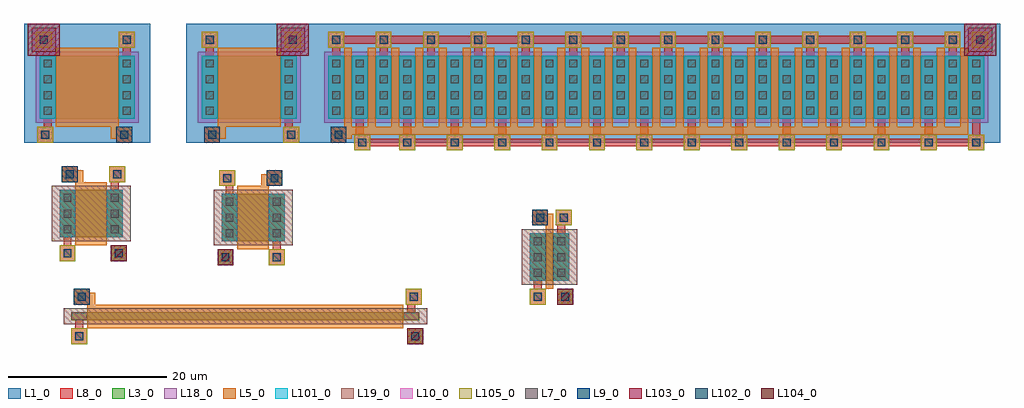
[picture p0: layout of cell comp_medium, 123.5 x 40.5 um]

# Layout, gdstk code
from math import pi, radians
import gdstk
lib = gdstk.Library(unit=1e-6, precision=1e-09)
def R(c, l, rs):  # rectangles x0, y0, x1, y1
    for r in rs: c.add(gdstk.rectangle(r[:2], r[2:], *l))
L1_0 = (1, 0)
L3_0 = (3, 0)
L5_0 = (5, 0)
L7_0 = (7, 0)
L8_0 = (8, 0)
L9_0 = (9, 0)
L10_0 = (10, 0)
L18_0 = (18, 0)
L19_0 = (19, 0)
L101_0 = (101, 0)
L102_0 = (102, 0)
L103_0 = (103, 0)
L104_0 = (104, 0)
L105_0 = (105, 0)

dcont = lib.new_cell('dcont')
R(dcont, L3_0, [(-0.5,-0.5,0.5,0.5)])
R(dcont, L7_0, [(-0.5,-0.5,0.5,0.5)])
R(dcont, L8_0, [(-1,-1,1,1)])
R(dcont, L101_0, [(-1,-1,1,1)])
dcont.add(gdstk.Label('dcont', (0,0), layer=13, texttype=0))

via = lib.new_cell('Via')
R(via, L8_0, [(-1,-1,1,1)])
R(via, L9_0, [(-0.5,-0.5,0.5,0.5)])
R(via, L10_0, [(-1,-1,1,1)])
R(via, L105_0, [(-1,-1,1,1)])
via.add(gdstk.Label('via', (0,0), layer=13, texttype=0))

nsubcont = lib.new_cell('nsubcont')
R(nsubcont, L1_0, [(-2,-2,2,2)])
R(nsubcont, L19_0, [(-1.5,-1.5,1.5,1.5)])
R(nsubcont, L103_0, [(-2,-2,2,2)])
nsubcont.add(gdstk.Reference(dcont, (0,0)))
nsubcont.add(gdstk.Label('NScont', (0,0), layer=13, texttype=0))

pcont = lib.new_cell('pcont')
R(pcont, L5_0, [(-1,-1,1,1)])
R(pcont, L7_0, [(-0.5,-0.5,0.5,0.5)])
R(pcont, L8_0, [(-1,-1,1,1)])
R(pcont, L102_0, [(-1,-1,1,1)])
pcont.add(gdstk.Label('pcont', (0,0), layer=13, texttype=0))

pch_2 = lib.new_cell('Pch$2')
R(pch_2, L1_0, [(-2,0,85,15)])
R(pch_2, L3_0, [(0,3,83,11)])
R(pch_2, L18_0, [(-0.5,2.5,83.5,11.5)])
pch_2.add(gdstk.FlexPath([(1,3),(1,11)], 2, ends="flush", simple_path=True, layer=8, datatype=0))  # L8_0
pch_2.add(gdstk.FlexPath([(4,3),(4,11)], 2, ends="flush", simple_path=True, layer=8, datatype=0))  # L8_0
pch_2.add(gdstk.FlexPath([(7,3),(7,11)], 2, ends="flush", simple_path=True, layer=8, datatype=0))  # L8_0
pch_2.add(gdstk.FlexPath([(10,3),(10,11)], 2, ends="flush", simple_path=True, layer=8, datatype=0))  # L8_0
pch_2.add(gdstk.FlexPath([(13,3),(13,11)], 2, ends="flush", simple_path=True, layer=8, datatype=0))  # L8_0
pch_2.add(gdstk.FlexPath([(16,3),(16,11)], 2, ends="flush", simple_path=True, layer=8, datatype=0))  # L8_0
pch_2.add(gdstk.FlexPath([(19,3),(19,11)], 2, ends="flush", simple_path=True, layer=8, datatype=0))  # L8_0
pch_2.add(gdstk.FlexPath([(22,3),(22,11)], 2, ends="flush", simple_path=True, layer=8, datatype=0))  # L8_0
pch_2.add(gdstk.FlexPath([(25,3),(25,11)], 2, ends="flush", simple_path=True, layer=8, datatype=0))  # L8_0
pch_2.add(gdstk.FlexPath([(28,3),(28,11)], 2, ends="flush", simple_path=True, layer=8, datatype=0))  # L8_0
pch_2.add(gdstk.FlexPath([(31,3),(31,11)], 2, ends="flush", simple_path=True, layer=8, datatype=0))  # L8_0
pch_2.add(gdstk.FlexPath([(34,3),(34,11)], 2, ends="flush", simple_path=True, layer=8, datatype=0))  # L8_0
pch_2.add(gdstk.FlexPath([(37,3),(37,11)], 2, ends="flush", simple_path=True, layer=8, datatype=0))  # L8_0
pch_2.add(gdstk.FlexPath([(40,3),(40,11)], 2, ends="flush", simple_path=True, layer=8, datatype=0))  # L8_0
pch_2.add(gdstk.FlexPath([(43,3),(43,11)], 2, ends="flush", simple_path=True, layer=8, datatype=0))  # L8_0
pch_2.add(gdstk.FlexPath([(46,3),(46,11)], 2, ends="flush", simple_path=True, layer=8, datatype=0))  # L8_0
pch_2.add(gdstk.FlexPath([(49,3),(49,11)], 2, ends="flush", simple_path=True, layer=8, datatype=0))  # L8_0
pch_2.add(gdstk.FlexPath([(52,3),(52,11)], 2, ends="flush", simple_path=True, layer=8, datatype=0))  # L8_0
pch_2.add(gdstk.FlexPath([(55,3),(55,11)], 2, ends="flush", simple_path=True, layer=8, datatype=0))  # L8_0
pch_2.add(gdstk.FlexPath([(58,3),(58,11)], 2, ends="flush", simple_path=True, layer=8, datatype=0))  # L8_0
pch_2.add(gdstk.FlexPath([(61,3),(61,11)], 2, ends="flush", simple_path=True, layer=8, datatype=0))  # L8_0
pch_2.add(gdstk.FlexPath([(64,3),(64,11)], 2, ends="flush", simple_path=True, layer=8, datatype=0))  # L8_0
pch_2.add(gdstk.FlexPath([(67,3),(67,11)], 2, ends="flush", simple_path=True, layer=8, datatype=0))  # L8_0
pch_2.add(gdstk.FlexPath([(70,3),(70,11)], 2, ends="flush", simple_path=True, layer=8, datatype=0))  # L8_0
pch_2.add(gdstk.FlexPath([(73,3),(73,11)], 2, ends="flush", simple_path=True, layer=8, datatype=0))  # L8_0
pch_2.add(gdstk.FlexPath([(76,3),(76,11)], 2, ends="flush", simple_path=True, layer=8, datatype=0))  # L8_0
pch_2.add(gdstk.FlexPath([(79,3),(79,11)], 2, ends="flush", simple_path=True, layer=8, datatype=0))  # L8_0
pch_2.add(gdstk.FlexPath([(82,3),(82,11)], 2, ends="flush", simple_path=True, layer=8, datatype=0))  # L8_0
pch_2.add(gdstk.FlexPath([(1,11),(1,13)], 1, ends="flush", simple_path=True, layer=8, datatype=0))  # L8_0
pch_2.add(gdstk.FlexPath([(4,0),(4,3)], 1, ends="flush", simple_path=True, layer=8, datatype=0))  # L8_0
pch_2.add(gdstk.FlexPath([(7,11),(7,13)], 1, ends="flush", simple_path=True, layer=8, datatype=0))  # L8_0
pch_2.add(gdstk.FlexPath([(1,13),(7,13)], 1, ends="flush", simple_path=True, layer=8, datatype=0))  # L8_0
pch_2.add(gdstk.FlexPath([(10,0),(10,3)], 1, ends="flush", simple_path=True, layer=8, datatype=0))  # L8_0
pch_2.add(gdstk.FlexPath([(4,0),(10,0)], 1, ends="flush", simple_path=True, layer=8, datatype=0))  # L8_0
pch_2.add(gdstk.FlexPath([(13,11),(13,13)], 1, ends="flush", simple_path=True, layer=8, datatype=0))  # L8_0
pch_2.add(gdstk.FlexPath([(7,13),(13,13)], 1, ends="flush", simple_path=True, layer=8, datatype=0))  # L8_0
pch_2.add(gdstk.FlexPath([(16,0),(16,3)], 1, ends="flush", simple_path=True, layer=8, datatype=0))  # L8_0
pch_2.add(gdstk.FlexPath([(10,0),(16,0)], 1, ends="flush", simple_path=True, layer=8, datatype=0))  # L8_0
pch_2.add(gdstk.FlexPath([(19,11),(19,13)], 1, ends="flush", simple_path=True, layer=8, datatype=0))  # L8_0
pch_2.add(gdstk.FlexPath([(13,13),(19,13)], 1, ends="flush", simple_path=True, layer=8, datatype=0))  # L8_0
pch_2.add(gdstk.FlexPath([(22,0),(22,3)], 1, ends="flush", simple_path=True, layer=8, datatype=0))  # L8_0
pch_2.add(gdstk.FlexPath([(16,0),(22,0)], 1, ends="flush", simple_path=True, layer=8, datatype=0))  # L8_0
pch_2.add(gdstk.FlexPath([(25,11),(25,13)], 1, ends="flush", simple_path=True, layer=8, datatype=0))  # L8_0
pch_2.add(gdstk.FlexPath([(19,13),(25,13)], 1, ends="flush", simple_path=True, layer=8, datatype=0))  # L8_0
pch_2.add(gdstk.FlexPath([(28,0),(28,3)], 1, ends="flush", simple_path=True, layer=8, datatype=0))  # L8_0
pch_2.add(gdstk.FlexPath([(22,0),(28,0)], 1, ends="flush", simple_path=True, layer=8, datatype=0))  # L8_0
pch_2.add(gdstk.FlexPath([(31,11),(31,13)], 1, ends="flush", simple_path=True, layer=8, datatype=0))  # L8_0
pch_2.add(gdstk.FlexPath([(25,13),(31,13)], 1, ends="flush", simple_path=True, layer=8, datatype=0))  # L8_0
pch_2.add(gdstk.FlexPath([(34,0),(34,3)], 1, ends="flush", simple_path=True, layer=8, datatype=0))  # L8_0
pch_2.add(gdstk.FlexPath([(28,0),(34,0)], 1, ends="flush", simple_path=True, layer=8, datatype=0))  # L8_0
pch_2.add(gdstk.FlexPath([(37,11),(37,13)], 1, ends="flush", simple_path=True, layer=8, datatype=0))  # L8_0
pch_2.add(gdstk.FlexPath([(31,13),(37,13)], 1, ends="flush", simple_path=True, layer=8, datatype=0))  # L8_0
pch_2.add(gdstk.FlexPath([(40,0),(40,3)], 1, ends="flush", simple_path=True, layer=8, datatype=0))  # L8_0
pch_2.add(gdstk.FlexPath([(34,0),(40,0)], 1, ends="flush", simple_path=True, layer=8, datatype=0))  # L8_0
pch_2.add(gdstk.FlexPath([(43,11),(43,13)], 1, ends="flush", simple_path=True, layer=8, datatype=0))  # L8_0
pch_2.add(gdstk.FlexPath([(37,13),(43,13)], 1, ends="flush", simple_path=True, layer=8, datatype=0))  # L8_0
pch_2.add(gdstk.FlexPath([(46,0),(46,3)], 1, ends="flush", simple_path=True, layer=8, datatype=0))  # L8_0
pch_2.add(gdstk.FlexPath([(40,0),(46,0)], 1, ends="flush", simple_path=True, layer=8, datatype=0))  # L8_0
pch_2.add(gdstk.FlexPath([(49,11),(49,13)], 1, ends="flush", simple_path=True, layer=8, datatype=0))  # L8_0
pch_2.add(gdstk.FlexPath([(43,13),(49,13)], 1, ends="flush", simple_path=True, layer=8, datatype=0))  # L8_0
pch_2.add(gdstk.FlexPath([(52,0),(52,3)], 1, ends="flush", simple_path=True, layer=8, datatype=0))  # L8_0
pch_2.add(gdstk.FlexPath([(46,0),(52,0)], 1, ends="flush", simple_path=True, layer=8, datatype=0))  # L8_0
pch_2.add(gdstk.FlexPath([(55,11),(55,13)], 1, ends="flush", simple_path=True, layer=8, datatype=0))  # L8_0
pch_2.add(gdstk.FlexPath([(49,13),(55,13)], 1, ends="flush", simple_path=True, layer=8, datatype=0))  # L8_0
pch_2.add(gdstk.FlexPath([(58,0),(58,3)], 1, ends="flush", simple_path=True, layer=8, datatype=0))  # L8_0
pch_2.add(gdstk.FlexPath([(52,0),(58,0)], 1, ends="flush", simple_path=True, layer=8, datatype=0))  # L8_0
pch_2.add(gdstk.FlexPath([(61,11),(61,13)], 1, ends="flush", simple_path=True, layer=8, datatype=0))  # L8_0
pch_2.add(gdstk.FlexPath([(55,13),(61,13)], 1, ends="flush", simple_path=True, layer=8, datatype=0))  # L8_0
pch_2.add(gdstk.FlexPath([(64,0),(64,3)], 1, ends="flush", simple_path=True, layer=8, datatype=0))  # L8_0
pch_2.add(gdstk.FlexPath([(58,0),(64,0)], 1, ends="flush", simple_path=True, layer=8, datatype=0))  # L8_0
pch_2.add(gdstk.FlexPath([(67,11),(67,13)], 1, ends="flush", simple_path=True, layer=8, datatype=0))  # L8_0
pch_2.add(gdstk.FlexPath([(61,13),(67,13)], 1, ends="flush", simple_path=True, layer=8, datatype=0))  # L8_0
pch_2.add(gdstk.FlexPath([(70,0),(70,3)], 1, ends="flush", simple_path=True, layer=8, datatype=0))  # L8_0
pch_2.add(gdstk.FlexPath([(64,0),(70,0)], 1, ends="flush", simple_path=True, layer=8, datatype=0))  # L8_0
pch_2.add(gdstk.FlexPath([(73,11),(73,13)], 1, ends="flush", simple_path=True, layer=8, datatype=0))  # L8_0
pch_2.add(gdstk.FlexPath([(67,13),(73,13)], 1, ends="flush", simple_path=True, layer=8, datatype=0))  # L8_0
pch_2.add(gdstk.FlexPath([(76,0),(76,3)], 1, ends="flush", simple_path=True, layer=8, datatype=0))  # L8_0
pch_2.add(gdstk.FlexPath([(70,0),(76,0)], 1, ends="flush", simple_path=True, layer=8, datatype=0))  # L8_0
pch_2.add(gdstk.FlexPath([(79,11),(79,13)], 1, ends="flush", simple_path=True, layer=8, datatype=0))  # L8_0
pch_2.add(gdstk.FlexPath([(73,13),(79,13)], 1, ends="flush", simple_path=True, layer=8, datatype=0))  # L8_0
pch_2.add(gdstk.FlexPath([(82,0),(82,3)], 1, ends="flush", simple_path=True, layer=8, datatype=0))  # L8_0
pch_2.add(gdstk.FlexPath([(76,0),(82,0)], 1, ends="flush", simple_path=True, layer=8, datatype=0))  # L8_0
pch_2.add(gdstk.FlexPath([(2.5,3),(2.5,11)], 1, ends=(1, 1), simple_path=True, layer=5, datatype=0))  # L5_0
pch_2.add(gdstk.FlexPath([(5.5,3),(5.5,11)], 1, ends=(1, 1), simple_path=True, layer=5, datatype=0))  # L5_0
pch_2.add(gdstk.FlexPath([(8.5,3),(8.5,11)], 1, ends=(1, 1), simple_path=True, layer=5, datatype=0))  # L5_0
pch_2.add(gdstk.FlexPath([(11.5,3),(11.5,11)], 1, ends=(1, 1), simple_path=True, layer=5, datatype=0))  # L5_0
pch_2.add(gdstk.FlexPath([(14.5,3),(14.5,11)], 1, ends=(1, 1), simple_path=True, layer=5, datatype=0))  # L5_0
pch_2.add(gdstk.FlexPath([(17.5,3),(17.5,11)], 1, ends=(1, 1), simple_path=True, layer=5, datatype=0))  # L5_0
pch_2.add(gdstk.FlexPath([(20.5,3),(20.5,11)], 1, ends=(1, 1), simple_path=True, layer=5, datatype=0))  # L5_0
pch_2.add(gdstk.FlexPath([(23.5,3),(23.5,11)], 1, ends=(1, 1), simple_path=True, layer=5, datatype=0))  # L5_0
pch_2.add(gdstk.FlexPath([(26.5,3),(26.5,11)], 1, ends=(1, 1), simple_path=True, layer=5, datatype=0))  # L5_0
pch_2.add(gdstk.FlexPath([(29.5,3),(29.5,11)], 1, ends=(1, 1), simple_path=True, layer=5, datatype=0))  # L5_0
pch_2.add(gdstk.FlexPath([(32.5,3),(32.5,11)], 1, ends=(1, 1), simple_path=True, layer=5, datatype=0))  # L5_0
pch_2.add(gdstk.FlexPath([(35.5,3),(35.5,11)], 1, ends=(1, 1), simple_path=True, layer=5, datatype=0))  # L5_0
pch_2.add(gdstk.FlexPath([(38.5,3),(38.5,11)], 1, ends=(1, 1), simple_path=True, layer=5, datatype=0))  # L5_0
pch_2.add(gdstk.FlexPath([(41.5,3),(41.5,11)], 1, ends=(1, 1), simple_path=True, layer=5, datatype=0))  # L5_0
pch_2.add(gdstk.FlexPath([(44.5,3),(44.5,11)], 1, ends=(1, 1), simple_path=True, layer=5, datatype=0))  # L5_0
pch_2.add(gdstk.FlexPath([(47.5,3),(47.5,11)], 1, ends=(1, 1), simple_path=True, layer=5, datatype=0))  # L5_0
pch_2.add(gdstk.FlexPath([(50.5,3),(50.5,11)], 1, ends=(1, 1), simple_path=True, layer=5, datatype=0))  # L5_0
pch_2.add(gdstk.FlexPath([(53.5,3),(53.5,11)], 1, ends=(1, 1), simple_path=True, layer=5, datatype=0))  # L5_0
pch_2.add(gdstk.FlexPath([(56.5,3),(56.5,11)], 1, ends=(1, 1), simple_path=True, layer=5, datatype=0))  # L5_0
pch_2.add(gdstk.FlexPath([(59.5,3),(59.5,11)], 1, ends=(1, 1), simple_path=True, layer=5, datatype=0))  # L5_0
pch_2.add(gdstk.FlexPath([(62.5,3),(62.5,11)], 1, ends=(1, 1), simple_path=True, layer=5, datatype=0))  # L5_0
pch_2.add(gdstk.FlexPath([(65.5,3),(65.5,11)], 1, ends=(1, 1), simple_path=True, layer=5, datatype=0))  # L5_0
pch_2.add(gdstk.FlexPath([(68.5,3),(68.5,11)], 1, ends=(1, 1), simple_path=True, layer=5, datatype=0))  # L5_0
pch_2.add(gdstk.FlexPath([(71.5,3),(71.5,11)], 1, ends=(1, 1), simple_path=True, layer=5, datatype=0))  # L5_0
pch_2.add(gdstk.FlexPath([(74.5,3),(74.5,11)], 1, ends=(1, 1), simple_path=True, layer=5, datatype=0))  # L5_0
pch_2.add(gdstk.FlexPath([(77.5,3),(77.5,11)], 1, ends=(1, 1), simple_path=True, layer=5, datatype=0))  # L5_0
pch_2.add(gdstk.FlexPath([(80.5,3),(80.5,11)], 1, ends=(1, 1), simple_path=True, layer=5, datatype=0))  # L5_0
pch_2.add(gdstk.FlexPath([(1,1),(2.5,1),(2.5,2)], 1, ends="flush", simple_path=True, layer=5, datatype=0))  # L5_0
pch_2.add(gdstk.FlexPath([(2,1.5),(6,1.5)], 1, ends="flush", simple_path=True, layer=5, datatype=0))  # L5_0
pch_2.add(gdstk.FlexPath([(5,1.5),(9,1.5)], 1, ends="flush", simple_path=True, layer=5, datatype=0))  # L5_0
pch_2.add(gdstk.FlexPath([(8,1.5),(12,1.5)], 1, ends="flush", simple_path=True, layer=5, datatype=0))  # L5_0
pch_2.add(gdstk.FlexPath([(11,1.5),(15,1.5)], 1, ends="flush", simple_path=True, layer=5, datatype=0))  # L5_0
pch_2.add(gdstk.FlexPath([(14,1.5),(18,1.5)], 1, ends="flush", simple_path=True, layer=5, datatype=0))  # L5_0
pch_2.add(gdstk.FlexPath([(17,1.5),(21,1.5)], 1, ends="flush", simple_path=True, layer=5, datatype=0))  # L5_0
pch_2.add(gdstk.FlexPath([(20,1.5),(24,1.5)], 1, ends="flush", simple_path=True, layer=5, datatype=0))  # L5_0
pch_2.add(gdstk.FlexPath([(23,1.5),(27,1.5)], 1, ends="flush", simple_path=True, layer=5, datatype=0))  # L5_0
pch_2.add(gdstk.FlexPath([(26,1.5),(30,1.5)], 1, ends="flush", simple_path=True, layer=5, datatype=0))  # L5_0
pch_2.add(gdstk.FlexPath([(29,1.5),(33,1.5)], 1, ends="flush", simple_path=True, layer=5, datatype=0))  # L5_0
pch_2.add(gdstk.FlexPath([(32,1.5),(36,1.5)], 1, ends="flush", simple_path=True, layer=5, datatype=0))  # L5_0
pch_2.add(gdstk.FlexPath([(35,1.5),(39,1.5)], 1, ends="flush", simple_path=True, layer=5, datatype=0))  # L5_0
pch_2.add(gdstk.FlexPath([(38,1.5),(42,1.5)], 1, ends="flush", simple_path=True, layer=5, datatype=0))  # L5_0
pch_2.add(gdstk.FlexPath([(41,1.5),(45,1.5)], 1, ends="flush", simple_path=True, layer=5, datatype=0))  # L5_0
pch_2.add(gdstk.FlexPath([(44,1.5),(48,1.5)], 1, ends="flush", simple_path=True, layer=5, datatype=0))  # L5_0
pch_2.add(gdstk.FlexPath([(47,1.5),(51,1.5)], 1, ends="flush", simple_path=True, layer=5, datatype=0))  # L5_0
pch_2.add(gdstk.FlexPath([(50,1.5),(54,1.5)], 1, ends="flush", simple_path=True, layer=5, datatype=0))  # L5_0
pch_2.add(gdstk.FlexPath([(53,1.5),(57,1.5)], 1, ends="flush", simple_path=True, layer=5, datatype=0))  # L5_0
pch_2.add(gdstk.FlexPath([(56,1.5),(60,1.5)], 1, ends="flush", simple_path=True, layer=5, datatype=0))  # L5_0
pch_2.add(gdstk.FlexPath([(59,1.5),(63,1.5)], 1, ends="flush", simple_path=True, layer=5, datatype=0))  # L5_0
pch_2.add(gdstk.FlexPath([(62,1.5),(66,1.5)], 1, ends="flush", simple_path=True, layer=5, datatype=0))  # L5_0
pch_2.add(gdstk.FlexPath([(65,1.5),(69,1.5)], 1, ends="flush", simple_path=True, layer=5, datatype=0))  # L5_0
pch_2.add(gdstk.FlexPath([(68,1.5),(72,1.5)], 1, ends="flush", simple_path=True, layer=5, datatype=0))  # L5_0
pch_2.add(gdstk.FlexPath([(71,1.5),(75,1.5)], 1, ends="flush", simple_path=True, layer=5, datatype=0))  # L5_0
pch_2.add(gdstk.FlexPath([(74,1.5),(78,1.5)], 1, ends="flush", simple_path=True, layer=5, datatype=0))  # L5_0
pch_2.add(gdstk.FlexPath([(77,1.5),(81,1.5)], 1, ends="flush", simple_path=True, layer=5, datatype=0))  # L5_0
pch_2.add(gdstk.Reference(dcont, (43,4)))
pch_2.add(gdstk.Reference(dcont, (43,6)))
pch_2.add(gdstk.Reference(dcont, (43,8)))
pch_2.add(gdstk.Reference(dcont, (43,10)))
pch_2.add(gdstk.Reference(via, (43,13)))
pch_2.add(gdstk.Reference(dcont, (46,10)))
pch_2.add(gdstk.Reference(dcont, (49,8)))
pch_2.add(gdstk.Reference(dcont, (49,10)))
pch_2.add(gdstk.Reference(dcont, (52,8)))
pch_2.add(gdstk.Reference(dcont, (52,10)))
pch_2.add(gdstk.Reference(dcont, (55,8)))
pch_2.add(gdstk.Reference(dcont, (55,10)))
pch_2.add(gdstk.Reference(dcont, (58,8)))
pch_2.add(gdstk.Reference(dcont, (58,10)))
pch_2.add(gdstk.Reference(dcont, (61,8)))
pch_2.add(gdstk.Reference(dcont, (61,10)))
pch_2.add(gdstk.Reference(dcont, (64,8)))
pch_2.add(gdstk.Reference(dcont, (64,10)))
pch_2.add(gdstk.Reference(dcont, (67,8)))
pch_2.add(gdstk.Reference(dcont, (67,10)))
pch_2.add(gdstk.Reference(dcont, (70,8)))
pch_2.add(gdstk.Reference(dcont, (70,10)))
pch_2.add(gdstk.Reference(dcont, (73,8)))
pch_2.add(gdstk.Reference(dcont, (73,10)))
pch_2.add(gdstk.Reference(dcont, (76,8)))
pch_2.add(gdstk.Reference(dcont, (76,10)))
pch_2.add(gdstk.Reference(dcont, (79,8)))
pch_2.add(gdstk.Reference(dcont, (79,10)))
pch_2.add(gdstk.Reference(dcont, (82,8)))
pch_2.add(gdstk.Reference(dcont, (82,10)))
pch_2.add(gdstk.Reference(dcont, (46,8)))
pch_2.add(gdstk.Reference(via, (49,13)))
pch_2.add(gdstk.Reference(via, (55,13)))
pch_2.add(gdstk.Reference(via, (61,13)))
pch_2.add(gdstk.Reference(via, (67,13)))
pch_2.add(gdstk.Reference(via, (73,13)))
pch_2.add(gdstk.Reference(via, (79,13)))
pch_2.add(gdstk.Reference(nsubcont, (82.5,13)))
pch_2.add(gdstk.Reference(via, (82.5,13)))
pch_2.add(gdstk.Reference(dcont, (16,10)))
pch_2.add(gdstk.Reference(dcont, (19,8)))
pch_2.add(gdstk.Reference(dcont, (19,10)))
pch_2.add(gdstk.Reference(dcont, (22,8)))
pch_2.add(gdstk.Reference(dcont, (22,10)))
pch_2.add(gdstk.Reference(dcont, (25,8)))
pch_2.add(gdstk.Reference(dcont, (25,10)))
pch_2.add(gdstk.Reference(dcont, (28,8)))
pch_2.add(gdstk.Reference(dcont, (28,10)))
pch_2.add(gdstk.Reference(dcont, (31,8)))
pch_2.add(gdstk.Reference(dcont, (31,10)))
pch_2.add(gdstk.Reference(dcont, (34,8)))
pch_2.add(gdstk.Reference(dcont, (34,10)))
pch_2.add(gdstk.Reference(dcont, (37,8)))
pch_2.add(gdstk.Reference(dcont, (37,10)))
pch_2.add(gdstk.Reference(dcont, (40,8)))
pch_2.add(gdstk.Reference(dcont, (40,10)))
pch_2.add(gdstk.Reference(dcont, (1,8)))
pch_2.add(gdstk.Reference(dcont, (1,10)))
pch_2.add(gdstk.Reference(via, (1,13)))
pch_2.add(gdstk.Reference(via, (7,13)))
pch_2.add(gdstk.Reference(via, (13,13)))
pch_2.add(gdstk.Reference(via, (19,13)))
pch_2.add(gdstk.Reference(via, (25,13)))
pch_2.add(gdstk.Reference(via, (31,13)))
pch_2.add(gdstk.Reference(via, (37,13)))
pch_2.add(gdstk.Reference(dcont, (4,8)))
pch_2.add(gdstk.Reference(dcont, (4,10)))
pch_2.add(gdstk.Reference(dcont, (7,8)))
pch_2.add(gdstk.Reference(dcont, (7,10)))
pch_2.add(gdstk.Reference(dcont, (10,8)))
pch_2.add(gdstk.Reference(dcont, (10,10)))
pch_2.add(gdstk.Reference(dcont, (13,8)))
pch_2.add(gdstk.Reference(dcont, (13,10)))
pch_2.add(gdstk.Reference(dcont, (16,8)))
pch_2.add(gdstk.Reference(dcont, (4,4)))
pch_2.add(gdstk.Reference(dcont, (4,6)))
pch_2.add(gdstk.Reference(dcont, (37,4)))
pch_2.add(gdstk.Reference(dcont, (37,6)))
pch_2.add(gdstk.Reference(dcont, (19,4)))
pch_2.add(gdstk.Reference(dcont, (19,6)))
pch_2.add(gdstk.Reference(dcont, (40,4)))
pch_2.add(gdstk.Reference(dcont, (40,6)))
pch_2.add(gdstk.Reference(dcont, (10,4)))
pch_2.add(gdstk.Reference(dcont, (10,6)))
pch_2.add(gdstk.Reference(dcont, (22,4)))
pch_2.add(gdstk.Reference(dcont, (22,6)))
pch_2.add(gdstk.Reference(pcont, (1.3,1)))
pch_2.add(gdstk.Reference(via, (1.3,1)))
pch_2.add(gdstk.Reference(dcont, (1,4)))
pch_2.add(gdstk.Reference(via, (4.3,0)))
pch_2.add(gdstk.Reference(dcont, (1,6)))
pch_2.add(gdstk.Reference(via, (10,0)))
pch_2.add(gdstk.Reference(dcont, (25,4)))
pch_2.add(gdstk.Reference(via, (16,0)))
pch_2.add(gdstk.Reference(dcont, (25,6)))
pch_2.add(gdstk.Reference(via, (22,0)))
pch_2.add(gdstk.Reference(dcont, (13,4)))
pch_2.add(gdstk.Reference(via, (28,0)))
pch_2.add(gdstk.Reference(dcont, (13,6)))
pch_2.add(gdstk.Reference(via, (34,0)))
pch_2.add(gdstk.Reference(dcont, (28,4)))
pch_2.add(gdstk.Reference(via, (40,0)))
pch_2.add(gdstk.Reference(dcont, (28,6)))
pch_2.add(gdstk.Reference(dcont, (7,4)))
pch_2.add(gdstk.Reference(dcont, (7,6)))
pch_2.add(gdstk.Reference(dcont, (31,4)))
pch_2.add(gdstk.Reference(dcont, (31,6)))
pch_2.add(gdstk.Reference(dcont, (16,4)))
pch_2.add(gdstk.Reference(dcont, (16,6)))
pch_2.add(gdstk.Reference(dcont, (34,4)))
pch_2.add(gdstk.Reference(dcont, (34,6)))
pch_2.add(gdstk.Reference(dcont, (64,6)))
pch_2.add(gdstk.Reference(dcont, (55,4)))
pch_2.add(gdstk.Reference(dcont, (55,6)))
pch_2.add(gdstk.Reference(dcont, (67,4)))
pch_2.add(gdstk.Reference(dcont, (67,6)))
pch_2.add(gdstk.Reference(dcont, (46,4)))
pch_2.add(gdstk.Reference(dcont, (46,6)))
pch_2.add(gdstk.Reference(dcont, (70,4)))
pch_2.add(gdstk.Reference(dcont, (70,6)))
pch_2.add(gdstk.Reference(dcont, (58,4)))
pch_2.add(gdstk.Reference(dcont, (58,6)))
pch_2.add(gdstk.Reference(dcont, (73,4)))
pch_2.add(gdstk.Reference(dcont, (73,6)))
pch_2.add(gdstk.Reference(dcont, (52,4)))
pch_2.add(gdstk.Reference(dcont, (52,6)))
pch_2.add(gdstk.Reference(dcont, (76,4)))
pch_2.add(gdstk.Reference(dcont, (76,6)))
pch_2.add(gdstk.Reference(dcont, (61,4)))
pch_2.add(gdstk.Reference(via, (46,0)))
pch_2.add(gdstk.Reference(dcont, (61,6)))
pch_2.add(gdstk.Reference(via, (52,0)))
pch_2.add(gdstk.Reference(dcont, (79,4)))
pch_2.add(gdstk.Reference(via, (58,0)))
pch_2.add(gdstk.Reference(dcont, (79,6)))
pch_2.add(gdstk.Reference(via, (64,0)))
pch_2.add(gdstk.Reference(dcont, (49,4)))
pch_2.add(gdstk.Reference(via, (70,0)))
pch_2.add(gdstk.Reference(dcont, (49,6)))
pch_2.add(gdstk.Reference(via, (76,0)))
pch_2.add(gdstk.Reference(dcont, (82,4)))
pch_2.add(gdstk.Reference(via, (82,0)))
pch_2.add(gdstk.Reference(dcont, (82,6)))
pch_2.add(gdstk.Reference(dcont, (64,4)))

pch_1 = lib.new_cell('Pch$1')
R(pch_1, L1_0, [(-2,0,14,15)])
R(pch_1, L3_0, [(0,3,12,11)])
R(pch_1, L18_0, [(-0.5,2.5,12.5,11.5)])
pch_1.add(gdstk.FlexPath([(1,3),(1,11)], 2, ends="flush", simple_path=True, layer=8, datatype=0))  # L8_0
pch_1.add(gdstk.FlexPath([(11,3),(11,11)], 2, ends="flush", simple_path=True, layer=8, datatype=0))  # L8_0
pch_1.add(gdstk.FlexPath([(1,11),(1,13)], 1, ends="flush", simple_path=True, layer=8, datatype=0))  # L8_0
pch_1.add(gdstk.FlexPath([(11,0),(11,3)], 1, ends="flush", simple_path=True, layer=8, datatype=0))  # L8_0
pch_1.add(gdstk.FlexPath([(6,3),(6,11)], 8, ends=(1, 1), simple_path=True, layer=5, datatype=0))  # L5_0
pch_1.add(gdstk.FlexPath([(1,1),(2.5,1),(2.5,2)], 1, ends="flush", simple_path=True, layer=5, datatype=0))  # L5_0
pch_1.add(gdstk.Reference(dcont, (1,4)))
pch_1.add(gdstk.Reference(dcont, (1,6)))
pch_1.add(gdstk.Reference(dcont, (1,8)))
pch_1.add(gdstk.Reference(dcont, (1,10)))
pch_1.add(gdstk.Reference(dcont, (11,4)))
pch_1.add(gdstk.Reference(dcont, (11,6)))
pch_1.add(gdstk.Reference(dcont, (11,8)))
pch_1.add(gdstk.Reference(dcont, (11,10)))
pch_1.add(gdstk.Reference(pcont, (1.3,1)))
pch_1.add(gdstk.Reference(via, (1.3,1)))
pch_1.add(gdstk.Reference(via, (1,13)))
pch_1.add(gdstk.Reference(via, (11.3,1)))
pch_1.add(gdstk.Reference(nsubcont, (11.5,13)))
pch_1.add(gdstk.Reference(via, (11.5,13)))

psubcont = lib.new_cell('psubcont')
R(psubcont, L104_0, [(-1,-1,1,1)])
psubcont.add(gdstk.Reference(dcont, (0,0)))
psubcont.add(gdstk.Label('PScon', (0,0), layer=13, texttype=0))

nch_1 = lib.new_cell('Nch$1')
R(nch_1, L3_0, [(0,3,8,9)])
R(nch_1, L19_0, [(-1,2.5,9,9.5)])
nch_1.add(gdstk.FlexPath([(1,3),(1,9)], 2, ends="flush", simple_path=True, layer=8, datatype=0))  # L8_0
nch_1.add(gdstk.FlexPath([(7,3),(7,9)], 2, ends="flush", simple_path=True, layer=8, datatype=0))  # L8_0
nch_1.add(gdstk.FlexPath([(1,1),(1,4)], 1, ends="flush", simple_path=True, layer=8, datatype=0))  # L8_0
nch_1.add(gdstk.FlexPath([(7,9),(7,12)], 1, ends="flush", simple_path=True, layer=8, datatype=0))  # L8_0
nch_1.add(gdstk.FlexPath([(4,3),(4,9)], 4, ends=(1, 1), simple_path=True, layer=5, datatype=0))  # L5_0
nch_1.add(gdstk.FlexPath([(1,11),(2.5,11),(2.5,10)], 1, ends="flush", simple_path=True, layer=5, datatype=0))  # L5_0
nch_1.add(gdstk.Reference(dcont, (1,4)))
nch_1.add(gdstk.Reference(dcont, (1,6)))
nch_1.add(gdstk.Reference(dcont, (1,8)))
nch_1.add(gdstk.Reference(dcont, (7,4)))
nch_1.add(gdstk.Reference(dcont, (7,6)))
nch_1.add(gdstk.Reference(dcont, (7,8)))
nch_1.add(gdstk.Reference(pcont, (1.3,11)))
nch_1.add(gdstk.Reference(via, (1.3,11)))
nch_1.add(gdstk.Reference(via, (1,1)))
nch_1.add(gdstk.Reference(via, (7.3,11)))
nch_1.add(gdstk.Reference(psubcont, (7.5,1)))
nch_1.add(gdstk.Reference(via, (7.5,1)))

nch_2 = lib.new_cell('Nch$2')
R(nch_2, L3_0, [(0,3,44,4)])
R(nch_2, L19_0, [(-1,2.5,45,4.5)])
nch_2.add(gdstk.FlexPath([(1,3),(1,4)], 2, ends="flush", simple_path=True, layer=8, datatype=0))  # L8_0
nch_2.add(gdstk.FlexPath([(43,3),(43,4)], 2, ends="flush", simple_path=True, layer=8, datatype=0))  # L8_0
nch_2.add(gdstk.FlexPath([(1,1),(1,4)], 1, ends="flush", simple_path=True, layer=8, datatype=0))  # L8_0
nch_2.add(gdstk.FlexPath([(43,4),(43,7)], 1, ends="flush", simple_path=True, layer=8, datatype=0))  # L8_0
nch_2.add(gdstk.FlexPath([(22,3),(22,4)], 40, ends=(1, 1), simple_path=True, layer=5, datatype=0))  # L5_0
nch_2.add(gdstk.FlexPath([(1,6),(2.5,6),(2.5,5)], 1, ends="flush", simple_path=True, layer=5, datatype=0))  # L5_0
nch_2.add(gdstk.Reference(pcont, (1.3,6)))
nch_2.add(gdstk.Reference(via, (1.3,6)))
nch_2.add(gdstk.Reference(via, (1,1)))
nch_2.add(gdstk.Reference(via, (43.3,6)))
nch_2.add(gdstk.Reference(psubcont, (43.5,1)))
nch_2.add(gdstk.Reference(via, (43.5,1)))

nch = lib.new_cell('Nch')
R(nch, L3_0, [(0,3,5,9)])
R(nch, L19_0, [(-1,2.5,6,9.5)])
nch.add(gdstk.FlexPath([(1,3),(1,9)], 2, ends="flush", simple_path=True, layer=8, datatype=0))  # L8_0
nch.add(gdstk.FlexPath([(4,3),(4,9)], 2, ends="flush", simple_path=True, layer=8, datatype=0))  # L8_0
nch.add(gdstk.FlexPath([(1,1),(1,4)], 1, ends="flush", simple_path=True, layer=8, datatype=0))  # L8_0
nch.add(gdstk.FlexPath([(4,9),(4,12)], 1, ends="flush", simple_path=True, layer=8, datatype=0))  # L8_0
nch.add(gdstk.FlexPath([(2.5,3),(2.5,9)], 1, ends=(1, 1), simple_path=True, layer=5, datatype=0))  # L5_0
nch.add(gdstk.FlexPath([(1,11),(2.5,11),(2.5,10)], 1, ends="flush", simple_path=True, layer=5, datatype=0))  # L5_0
nch.add(gdstk.Reference(dcont, (1,4)))
nch.add(gdstk.Reference(dcont, (1,6)))
nch.add(gdstk.Reference(dcont, (1,8)))
nch.add(gdstk.Reference(dcont, (4,4)))
nch.add(gdstk.Reference(dcont, (4,6)))
nch.add(gdstk.Reference(dcont, (4,8)))
nch.add(gdstk.Reference(pcont, (1.3,11)))
nch.add(gdstk.Reference(via, (1.3,11)))
nch.add(gdstk.Reference(via, (1,1)))
nch.add(gdstk.Reference(via, (4.3,11)))
nch.add(gdstk.Reference(psubcont, (4.5,1)))
nch.add(gdstk.Reference(via, (4.5,1)))

comp_medium = lib.new_cell('comp_medium')
comp_medium.add(gdstk.Reference(pch_2, (42,3)))
comp_medium.add(gdstk.Reference(pch_1, (17.5,3), rotation=pi, x_reflection=True))
comp_medium.add(gdstk.Reference(pch_1, (26,3)))
comp_medium.add(gdstk.Reference(nch_1, (8,-12)))
comp_medium.add(gdstk.Reference(nch_1, (36.5,-12.5), rotation=pi, x_reflection=True))
comp_medium.add(gdstk.Reference(nch_2, (9.5,-22.5)))
comp_medium.add(gdstk.Reference(nch, (67.5,-17.5)))

lib.write_gds('comp_medium.gds')
